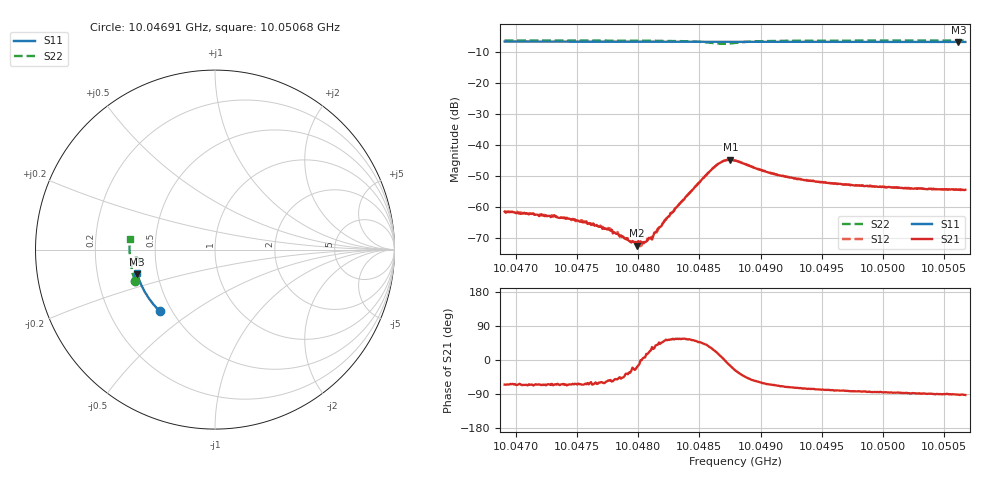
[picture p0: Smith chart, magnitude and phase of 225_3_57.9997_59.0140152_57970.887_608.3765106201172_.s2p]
#  HZ  S  RI  R  50.00
! Rohde & Schwarz Vector Network Analyzer
! Rohde-Schwarz,ZNB20-2Port,1311601062101988,3.16
! Created: UTC 3/21/2024, 1:00:20 AM
! freq[Hz]  re:S11  im:S11  re:S21  im:S21  re:S12  im:S12  re:S22  im:S22
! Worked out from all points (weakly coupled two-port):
!   401 points, 10.04691 GHz to 10.05068 GHz, reference 50 ohm
!   highest |S21| = -44.74 dB at 10.04875 GHz (marker M1); lowest = -72.4 dB at 10.04799 GHz (marker M2)
!   lowest |S11| = -6.9 dB at 10.05062 GHz (marker M3), VSWR 2.66, Z = 19.2 - j6.57 ohm
!   |S11| at or under -10 dB: nowhere
!   |S22| runs from -7.4 to -6.4 dB; largest |S21 - S12| = 0.00039
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1.0046907e10  -0.3077 -0.3429  0.000362 -0.00077  0.000412 -0.000759  -0.4461 -0.1758
1.0047312e10  -0.3265 -0.3237  0.000311 -0.000675  0.000347 -0.000651  -0.4548 -0.1493
1.0047538e10  -0.3366 -0.3126  0.000246 -0.000526  0.000315 -0.000535  -0.4588 -0.1338
1.0047764e10  -0.3463 -0.3012  0.000253 -0.000352  0.000266 -0.000378  -0.4623 -0.1178
1.0047924e10  -0.3528 -0.2928  0.000245 -0.000158  0.000238 -0.000167  -0.4642 -0.1058
1.004799e10  -0.3556 -0.2893  0.000229 -7.38e-05  0.000239 -4.78e-05  -0.4649 -0.1005
1.0048028e10  -0.357 -0.2873  0.000271 -1.05e-06  0.000241 3.49e-05  -0.4652 -0.0974
1.0048056e10  -0.3581 -0.2859  0.000273 3.26e-05  0.00029 7.86e-05  -0.4653 -0.095
1.0048094e10  -0.3596 -0.284  0.000292 0.000124  0.000279 0.000154  -0.4654 -0.0918
1.0048122e10  -0.3607 -0.2824  0.000302 0.000168  0.000294 0.00021  -0.4658 -0.0896
1.0048169e10  -0.3627 -0.2799  0.000324 0.000336  0.000326 0.000333  -0.4656 -0.0853
1.0048244e10  -0.3655 -0.2758  0.000421 0.000571  0.000399 0.000615  -0.4653 -0.0784
1.0048593e10  -0.378 -0.2565  0.00332 0.0021  0.00323 0.00232  -0.4381 -0.0453
1.0048678e10  -0.3808 -0.252  0.00527 0.000815  0.00526 0.00112  -0.4213 -0.0548
1.0048753e10  -0.3833 -0.248  0.00557 -0.0016  0.0057 -0.00124  -0.4227 -0.0737
1.0048791e10  -0.3846 -0.2461  0.00501 -0.00253  0.00522 -0.00223  -0.4295 -0.0797
1.0049092e10  -0.3948 -0.2288  0.00146 -0.00315  0.00163 -0.00313  -0.4665 -0.0612
1.0049422e10  -0.4049 -0.2094  0.000621 -0.00257  0.000765 -0.00256  -0.4744 -0.0323
1.0049752e10  -0.4139 -0.1898  0.000308 -0.00224  0.000424 -0.00224  -0.4762 -0.00728
1.0050053e10  -0.4213 -0.1713  0.000137 -0.00211  0.000267 -0.00207  -0.4763 0.0142
1.0050619e10  -0.4331 -0.1361  -4.22e-05 -0.00192  6.16e-05 -0.00191  -0.4734 0.0528
1.0050675e10  -0.4343 -0.1325  -8e-05 -0.00191  3.97e-05 -0.00191  -0.4729 0.0567
